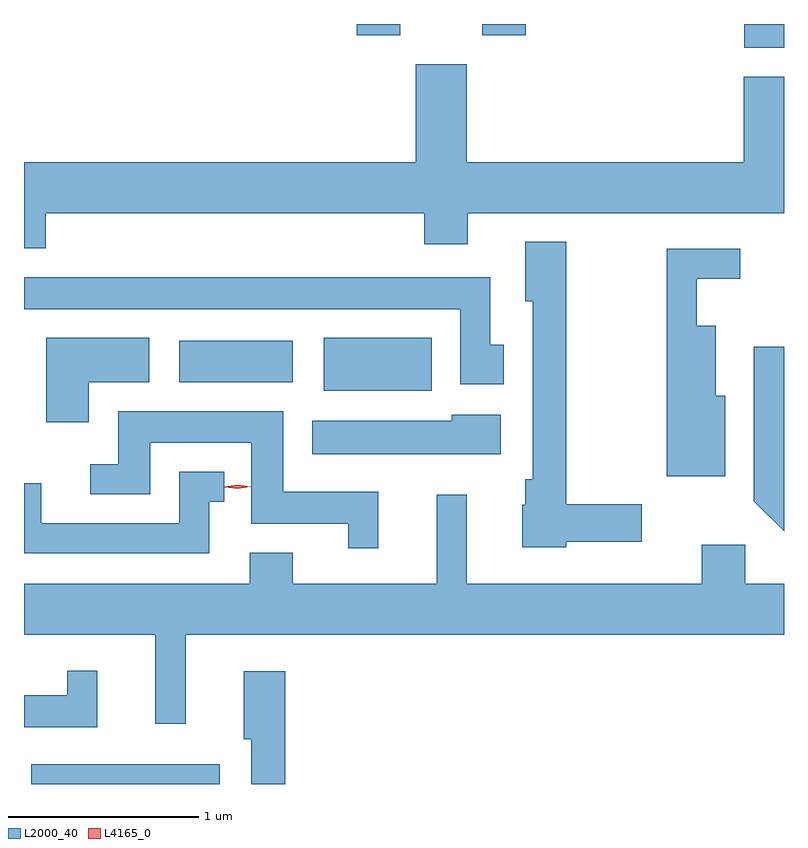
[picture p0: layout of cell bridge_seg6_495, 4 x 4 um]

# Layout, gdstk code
import gdstk
lib = gdstk.Library(unit=1e-6, precision=1e-09)
def R(c, l, rs):  # rectangles x0, y0, x1, y1
    for r in rs: c.add(gdstk.rectangle(r[:2], r[2:], *l))
def P(c, l, *ps):  # polygons
    for p in ps: c.add(gdstk.Polygon(p, *l))
L2000_40 = (2000, 40)
L4165_0 = (4165, 0)

bridge_seg6_495 = lib.new_cell('bridge_seg6_495')
R(bridge_seg6_495, L2000_40, [(880.161,1589.211,881.154,1589.314), (881.701,1591.281,882.269,1591.559), (880.941,1591.326,881.539,1591.544), (883.916,1593.086,884.124,1593.211), (881.876,1593.151,882.104,1593.211), (882.536,1593.151,882.764,1593.211)])
P(bridge_seg6_495, L2000_40, [(880.239,1592.216),(882.231,1592.216),(882.231,1592.051),(882.459,1592.051),(882.459,1592.216),(884.124,1592.216),(884.124,1592.934),(883.911,1592.934),(883.911,1592.484),(882.454,1592.484),(882.454,1592.999),(882.186,1592.999),(882.186,1592.484),(880.124,1592.484),(880.124,1592.031),(880.239,1592.031)],
  [(882.979,1590.486),(883.374,1590.486),(883.374,1590.684),(882.979,1590.684),(882.979,1592.064),(882.761,1592.064),(882.761,1591.751),(882.801,1591.751),(882.801,1590.814),(882.761,1590.814),(882.761,1590.68),(882.746,1590.68),(882.746,1590.456),(882.979,1590.456)],
  [(883.814,1591.254),(883.764,1591.254),(883.764,1591.624),(883.664,1591.624),(883.664,1591.871),(883.893,1591.871),(883.893,1592.029),(883.506,1592.029),(883.506,1590.831),(883.814,1590.831)],
  [(882.649,1591.524),(882.579,1591.524),(882.579,1591.879),(880.124,1591.879),(880.124,1591.711),(882.421,1591.711),(882.421,1591.316),(882.649,1591.316)],
  [(880.464,1591.326),(880.784,1591.326),(880.784,1591.559),(880.241,1591.559),(880.241,1591.116),(880.464,1591.116)],
  [(884.124,1591.513),(883.966,1591.513),(883.966,1590.699),(884.124,1590.541)],
  [(881.989,1590.749),(881.489,1590.749),(881.489,1591.174),(880.621,1591.174),(880.621,1590.894),(880.473,1590.894),(880.473,1590.736),(880.789,1590.736),(880.789,1591.006),(881.321,1591.006),(881.321,1590.581),(881.831,1590.581),(881.831,1590.453),(881.989,1590.453)],
  [(882.634,1591.154),(882.376,1591.154),(882.376,1591.124),(881.641,1591.124),(881.641,1590.946),(882.634,1590.946)],
  [(881.099,1590.696),(881.178,1590.696),(881.178,1590.854),(880.941,1590.854),(880.941,1590.584),(880.214,1590.584),(880.214,1590.793),(880.124,1590.793),(880.124,1590.426),(881.099,1590.426)],
  [(880.974,1589.996),(884.124,1589.996),(884.124,1590.264),(883.919,1590.264),(883.919,1590.469),(883.691,1590.469),(883.691,1590.264),(882.454,1590.264),(882.454,1590.733),(882.296,1590.733),(882.296,1590.264),(881.539,1590.264),(881.539,1590.429),(881.311,1590.429),(881.311,1590.264),(880.124,1590.264),(880.124,1589.996),(880.816,1589.996),(880.816,1589.528),(880.974,1589.528)],
  [(880.509,1589.808),(880.351,1589.808),(880.351,1589.679),(880.124,1589.679),(880.124,1589.511),(880.509,1589.511)],
  [(881.499,1589.804),(881.281,1589.804),(881.281,1589.446),(881.321,1589.446),(881.321,1589.211),(881.499,1589.211)])
P(bridge_seg6_495, L4165_0, [(881.248,1590.765),(881.179,1590.774),(881.179,1590.775),(881.179,1590.775),(881.248,1590.785),(881.318,1590.776),(881.318,1590.776),(881.318,1590.775)])

lib.write_gds('bridge_seg6_495.gds')
